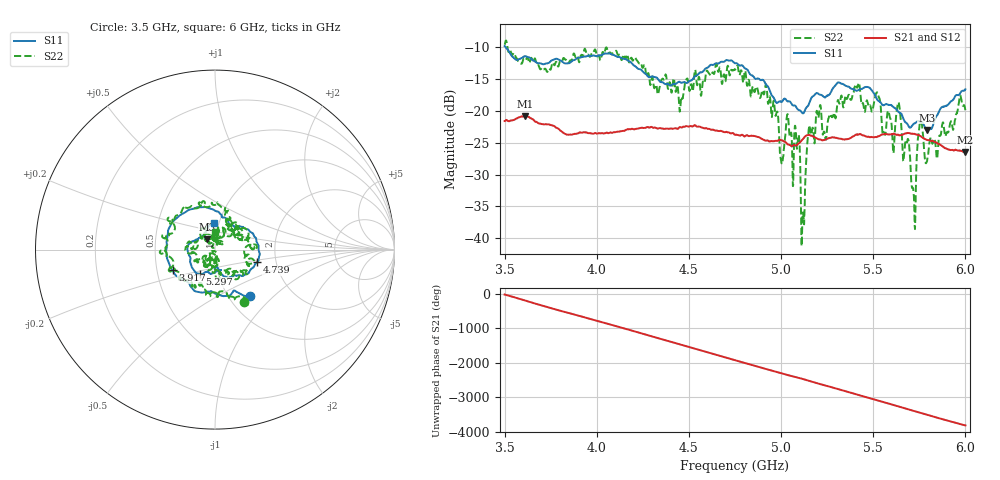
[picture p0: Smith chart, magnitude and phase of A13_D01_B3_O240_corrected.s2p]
! Created with skrf 1.9.0 (http://scikit-rf.org).
# Hz S RI R 50.0
!freq ReS11 ImS11 ReS21 ImS21 ReS12 ImS12 ReS22 ImS22
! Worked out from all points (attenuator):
!   1601 points, 3.5 GHz to 6 GHz, reference 50 ohm
!   highest |S21| = -20.83 dB at 3.611 GHz (marker M1); lowest = -26.5 dB at 6 GHz (marker M2)
!   lowest |S11| = -23.0 dB at 5.791 GHz (marker M3), VSWR 1.15, Z = 45.7 + j5.24 ohm
!   |S11| at or under -10 dB: 3.505 GHz to end of sweep
!   |S22| runs from -41.2 to -8.9 dB; largest |S21 - S12| = 0.0013
!   S11 on the Smith chart (normalised r, x): 3.5 GHz: 1.25, -0.72; 3.917 GHz: 0.60, -0.15; 4.739 GHz: 1.59, -0.24; 5.297 GHz: 0.81, -0.23; 6 GHz: 0.94, +0.28
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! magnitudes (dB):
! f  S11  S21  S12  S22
! 3.5 GHz  -9.8  -21.6  -21.6  -9.6
! 3.611 GHz  -11.4  -20.8  -20.9  -12.0
! 3.917 GHz  -11.6  -23.4  -23.4  -11.2
! 4.334 GHz  -15.1  -22.8  -22.7  -17.2
! 4.739 GHz  -12.3  -23.5  -23.5  -13.6
! 4.75 GHz  -12.5  -23.7  -23.7  -13.5
! 4.927 GHz  -16.1  -24.6  -24.6  -18.1
! 5.003 GHz  -18.5  -24.6  -24.7  -28.2
! 5.033 GHz  -18.4  -25.2  -25.1  -20.6
! 5.086 GHz  -19.6  -25.4  -25.4  -26.0
! 5.119 GHz  -20.4  -24.4  -24.4  -35.9
! 5.145 GHz  -19.2  -23.8  -23.8  -24.1
! 5.167 GHz  -17.8  -23.9  -23.9  -23.2
! 5.297 GHz  -15.9  -24.2  -24.2  -21.0
! 5.414 GHz  -16.8  -23.7  -23.8  -16.2
! 5.584 GHz  -19.1  -23.7  -23.7  -20.1
! 5.609 GHz  -19.4  -23.6  -23.6  -26.6
! 5.639 GHz  -20.2  -23.8  -23.8  -18.8
! 5.719 GHz  -22.0  -23.6  -23.6  -32.9
! 5.753 GHz  -21.7  -23.9  -23.9  -22.0
! 5.791 GHz  -23.0  -24.5  -24.5  -27.9
! 6 GHz  -16.6  -26.5  -26.4  -19.9
